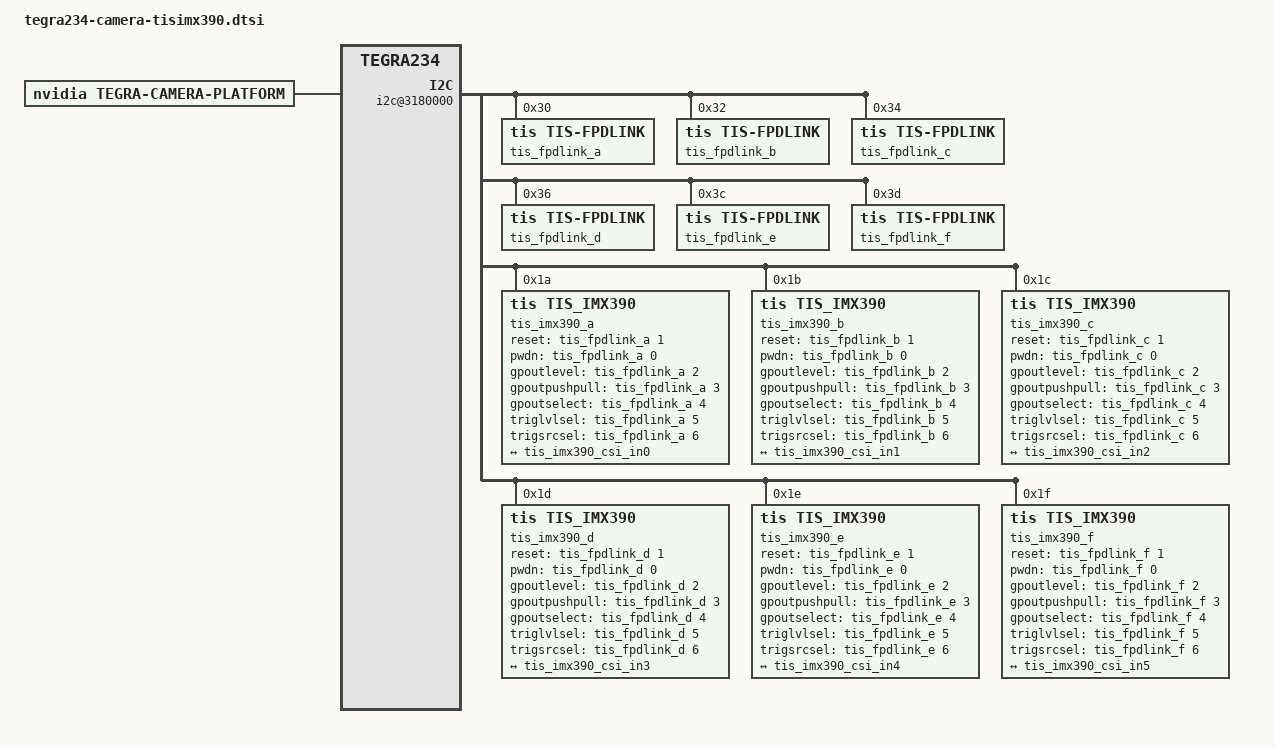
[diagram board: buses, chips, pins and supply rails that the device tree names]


#include <dt-bindings/tegra234-p3737-0000+p3701-0000.h>



/* 
 #define CAM0_RST_L	TEGRA234_MAIN_GPIO(H, 3)
 #define CAM0_PWDN	TEGRA234_MAIN_GPIO(H, 6)
 #define CAM1_RST_L	TEGRA234_MAIN_GPIO(AC, 1)
 #define CAM1_PWDN	TEGRA234_MAIN_GPIO(AC, 0)*/

 / {
	fragment-camera@0 {
		target-path = "/";
		__overlay__ {

        /*tegra-camera-platform {
            /**
            * tpg_max_iso = <>;
            * Max iso bw for 6 streams of tpg
            * streams * nvcsi_freq * PG_bitrate / RG10 * BPP
            * 6 * 102Mhz * 32 bits/ 10 bits * 2 Bps
            * = 3916.8 MBps
            
            tpg_max_iso = <3916800>;
        };*/

	/* set camera gpio direction to output */
	/*gpio@2200000 {
		camera-control-output-low {
			gpio-hog;
			output-low;
			gpios = <CAM0_RST_L 0 CAM0_PWDN 0
				 CAM1_RST_L 0 CAM1_PWDN 0>;
			label = "cam0-rst", "cam0-pwdn",
				"cam1-rst", "cam1-pwdn";
		};
	};*/

	/* all cameras are disabled by default */
	tegra-capture-vi {
		num-channels = <6>;
		ports {
			#address-cells = <1>;
			#size-cells = <0>;
			port@0 {
				reg = <0>;
				tis_imx390_vi_in0: endpoint {
					vc-id = <0>;
					port-index = <0>;
					bus-width = <2>;
					remote-endpoint = <&tis_imx390_csi_out0>;
				};
			};
			port@1 {
				reg = <1>;
				tis_imx390_vi_in1: endpoint {
					vc-id = <0>;
					port-index = <1>;
					bus-width = <2>;
					remote-endpoint = <&tis_imx390_csi_out1>;
				};
			};
			port@2 {
				reg = <2>;
				tis_imx390_vi_in2: endpoint {
					vc-id = <0>;
					port-index = <2>;
					bus-width = <2>;
					remote-endpoint = <&tis_imx390_csi_out2>;
				};
			};
			port@3 {
				reg = <3>;
				tis_imx390_vi_in3: endpoint {
					vc-id = <0>;
					port-index = <3>;
					bus-width = <2>;
					remote-endpoint = <&tis_imx390_csi_out3>;
				};
			};
			 
			port@4 {
				reg = <4>;
				tis_imx390_vi_in4: endpoint {
					vc-id = <0>;
					port-index = <4>;
					bus-width = <4>;
					remote-endpoint = <&tis_imx390_csi_out4>;
				};
			}; 
			port@5 {
				reg = <5>;
				tis_imx390_vi_in5: endpoint {
					vc-id = <0>;
					port-index = <5>;
					bus-width = <4>;
					remote-endpoint = <&tis_imx390_csi_out5>;
				};
			};
			};
		/*ports {
			vi_port0: port@0 {
				status = "disabled";
				vi_in0: endpoint {
					vc-id = <0>;
					status = "disabled";
				};
			};
			vi_port1: port@1 {
				status = "disabled";
				vi_in1: endpoint {
					vc-id = <0>;
					status = "disabled";
				};
			};
			vi_port2: port@2 {
				status = "disabled";
				vi_in2: endpoint {
					vc-id = <0>;
					status = "disabled";
				};
			};
			vi_port3: port@3 {
				status = "disabled";
				vi_in3: endpoint {
					vc-id = <0>;
					status = "disabled";
				};
			};
			vi_port4: port@4 {
				status = "disabled";
				vi_in4: endpoint {
					vc-id = <0>;
					status = "disabled";
				};
			};
			vi_port5: port@5 {
				status = "disabled";
				vi_in5: endpoint {
					vc-id = <0>;
					status = "disabled";
				};
			};
			vi_port6: port@6 {
				status = "disabled";
				vi_in6: endpoint {
					vc-id = <0>;
					status = "disabled";
				};
			};
			vi_port7: port@7 {
				status = "disabled";
				vi_in7: endpoint {
					vc-id = <0>;
					status = "disabled";
				};
			};
			vi_port8: port@8 {
				status = "disabled";
				vi_in8: endpoint {
					vc-id = <0>;
					status = "disabled";
				};
			};
			vi_port9: port@9 {
				status = "disabled";
				vi_in9: endpoint {
					vc-id = <0>;
					status = "disabled";
				};
			};
			vi_port10: port@10 {
				status = "disabled";
				vi_in10: endpoint {
					vc-id = <0>;
					status = "disabled";
				};
			};
			vi_port11: port@11 {
				status = "disabled";
				vi_in11: endpoint {
					vc-id = <0>;
					status = "disabled";
				};
			};
		};*/
	};
    bus@0 {
	host1x@13e00000 {
		nvcsi@15a00000 {
			num-tpg-channels = <36>;
			num-channels = <6>;
			#address-cells = <1>;
			#size-cells = <0>;

			/*csi_chan0: channel@0 {
				status = "disabled";
				ports {
					csi_chan0_port0: port@0 {
						status = "disabled";
						csi_in0: endpoint@0 {
							status = "disabled";
						};
					};
					csi_chan0_port1: port@1 {
						status = "disabled";
						csi_out0: endpoint@1 {
							status = "disabled";
						};
					};
				};
			};
			csi_chan1: channel@1 {
				status = "disabled";
				ports {
					csi_chan1_port0: port@0 {
						status = "disabled";
						csi_in1: endpoint@2 {
							status = "disabled";
						};
					};
					csi_chan1_port1: port@1 {
						status = "disabled";
						csi_out1: endpoint@3 {
							status = "disabled";
						};
					};
				};
			};
			csi_chan2: channel@2 {
				status = "disabled";
				ports {
					csi_chan2_port0: port@0 {
						status = "disabled";
						csi_in2: endpoint@4 {
							status = "disabled";
						};
					};
					csi_chan2_port1: port@1 {
						status = "disabled";
						csi_out2: endpoint@5 {
							status = "disabled";
						};
					};
				};
			};
			csi_chan3: channel@3 {
				status = "disabled";
				ports {
					csi_chan3_port0: port@0 {
						status = "disabled";
						csi_in3: endpoint@6 {
							status = "disabled";
						};
					};
					csi_chan3_port1: port@1 {
						status = "disabled";
						csi_out3: endpoint@7 {
							status = "disabled";
						};
					};
				};
			};
			csi_chan4: channel@4 {
				status = "disabled";
				ports {
					csi_chan4_port0: port@0 {
						status = "disabled";
						csi_in4: endpoint@8 {
							status = "disabled";
						};
					};
					csi_chan4_port1: port@1 {
						status = "disabled";
						csi_out4: endpoint@9 {
							status = "disabled";
						};
					};
				};
			};
			csi_chan5: channel@5 {
				status = "disabled";
				ports {
					csi_chan5_port0: port@0 {
						status = "disabled";
						csi_in5: endpoint@10 {
							status = "disabled";
						};
					};
					csi_chan5_port1: port@1 {
						status = "disabled";
						csi_out5: endpoint@11 {
							status = "disabled";
						};
					};
				};
			};
			csi_chan6: channel@6 {
				status = "disabled";
				ports {
					csi_chan6_port0: port@0 {
						status = "disabled";
						csi_in6: endpoint@12 {
							status = "disabled";
						};
					};
					csi_chan6_port1: port@1 {
						status = "disabled";
						csi_out6: endpoint@13 {
							status = "disabled";
						};
					};
				};
			};
			csi_chan7: channel@7 {
				status = "disabled";
				ports {
					csi_chan7_port0: port@0 {
						status = "disabled";
						csi_in7: endpoint@14 {
							status = "disabled";
						};
					};
					csi_chan7_port1: port@1 {
						status = "disabled";
						csi_out7: endpoint@15 {
							status = "disabled";
						};
					};
				};
			};
			csi_chan8: channel@8 {
				status = "disabled";
				ports {
					csi_chan8_port0: port@0 {
						status = "disabled";
						csi_in8: endpoint@16 {
							status = "disabled";
						};
					};
					csi_chan8_port1: port@1 {
						status = "disabled";
						csi_out8: endpoint@17 {
							status = "disabled";
						};
					};
				};
			};
			csi_chan9: channel@9 {
				status = "disabled";
				ports {
					csi_chan9_port0: port@0 {
						status = "disabled";
						csi_in9: endpoint@18 {
							status = "disabled";
						};
					};
					csi_chan9_port1: port@1 {
						status = "disabled";
						csi_out9: endpoint@19 {
							status = "disabled";
						};
					};
				};
			};
			csi_chan10: channel@10 {
				status = "disabled";
				ports {
					csi_chan10_port0: port@0 {
						status = "disabled";
						csi_in10: endpoint@20 {
							status = "disabled";
						};
					};
					csi_chan10_port1: port@1 {
						status = "disabled";
						csi_out10: endpoint@21 {
							status = "disabled";
						};
					};
				};
			};
			csi_chan11: channel@11 {
				status = "disabled";
				ports {
					csi_chan11_port0: port@0 {
						status = "disabled";
						csi_in11: endpoint@22 {
							status = "disabled";
						};
					};
					csi_chan11_port1: port@1 {
						status = "disabled";
						csi_out11: endpoint@23 {
							status = "disabled";
						};
					};
				};
			};
		};
		*/
		channel@0 {
				reg = <0>;
				ports {
					#address-cells = <1>;
					#size-cells = <0>;
					port@0 {
						reg = <0>;
						tis_imx390_csi_in0: endpoint@0 {
							port-index = <0>;
							bus-width = <2>;
							remote-endpoint = <&tis_imx390_out0>;
						};
					};
					port@1 {
						reg = <1>;
						tis_imx390_csi_out0: endpoint@1 {
							remote-endpoint = <&tis_imx390_vi_in0>;
						};
					};
				};
			};
			channel@1 {
				reg = <1>;
				ports {
					#address-cells = <1>;
					#size-cells = <0>;
					port@0 {
						reg = <0>;
						tis_imx390_csi_in1: endpoint@2 {
							port-index = <1>;
							bus-width = <2>;
							remote-endpoint = <&tis_imx390_out1>;
						};
					};
					port@1 {
						reg = <1>;
						tis_imx390_csi_out1: endpoint@3 {
							remote-endpoint = <&tis_imx390_vi_in1>;
						};
					};
				};
			};
			channel@2 {
				reg = <2>;
				ports {
					#address-cells = <1>;
					#size-cells = <0>;
					port@0 {
						reg = <0>;
						tis_imx390_csi_in2: endpoint@4 {
							port-index = <2>;
							bus-width = <2>;
							remote-endpoint = <&tis_imx390_out2>;
						};
					};
					port@1 {
						reg = <1>;
						tis_imx390_csi_out2: endpoint@5 {
							remote-endpoint = <&tis_imx390_vi_in2>;
						};
					};
				};
			};
			channel@3 {
				reg = <3>;
				ports {
					#address-cells = <1>;
					#size-cells = <0>;
					port@0 {
						reg = <0>;
						tis_imx390_csi_in3: endpoint@6 {
							port-index = <3>;
							bus-width = <2>;
							remote-endpoint = <&tis_imx390_out3>;
						};
					};
					port@1 {
						reg = <1>;
						tis_imx390_csi_out3: endpoint@7 {
							remote-endpoint = <&tis_imx390_vi_in3>;
						};
					};
				};
			}; 
			channel@4 {
				reg = <4>;
				ports {
					#address-cells = <1>;
					#size-cells = <0>;
					port@0 {
						reg = <0>;
						tis_imx390_csi_in4: endpoint@8 {
							port-index = <4>;
							bus-width = <4>;
							remote-endpoint = <&tis_imx390_out4>;
						};
					};
					port@1 {
						reg = <1>;
						tis_imx390_csi_out4: endpoint@9 {
							remote-endpoint = <&tis_imx390_vi_in4>;
						};
					};
				};
			};
			channel@5 {
				reg = <5>;
				ports {
					#address-cells = <1>;
					#size-cells = <0>;
					port@0 {
						reg = <0>;
						tis_imx390_csi_in5: endpoint@a {
							port-index = <6>;
							bus-width = <4>;
							remote-endpoint = <&tis_imx390_out5>;
						};
					};
					port@1 {
						reg = <1>;
						tis_imx390_csi_out5: endpoint@b {
							remote-endpoint = <&tis_imx390_vi_in5>;
						};
					};
				};
			};
		};




	};


	i2c@3180000 {
		#address-cells = <1>;
		#size-cells = <0>;
		status = "okay";
		nvidia,disable-multi-pkt-mode;

		tis_fpdlink_a: tis_fpdlink@30 {
			compatible = "tis,tis-fpdlink";
			status = "okay";
			reg = <0x30>;
			gpio_addr_base = /bits/ 8 <0x60>;
			gpio-controller;
			#gpio-cells = <2>;
			ngpios = <8>;
			deser_lanes = <2>;
			deser_chan_addrs = /bits/ 8 <0x41 0x42>;
			
			sensors = <&tis_imx390_a>;
			
			tis_fpdlink_a_input {
				status = "okay";
				input;
				gpios = <0x7 0x0>;
				gpio-line-names = "tis_fpdlink_a_chn0_input_0";
				//line-name = "tis_fpdlink_a_chn0_input_0";
			};
			tis_fpdlink_a_outlow {
				status = "okay";
				//gpio-hog;
				output-low;
				gpios = <0x0 0x0 0x1 0x0 0x2 0x0 0x3 0x0 0x4 0x0 0x5 0x0 0x6 0x1>;
				gpio-line-names = "tis_fpdlink_a_chn0_CAM_PWR", "tis_fpdlink_a_chn0_RESET", "tis_fpdlink_a_chn0_GPOUT_LEVEL", "tis_fpdlink_a_chn0_GPOUT_PUSHPULL", "tis_fpdlink_a_chn0_GPOUT_SELECT", "tis_fpdlink_a_chn0_TRIG_LVL_SEL", "tis_fpdlink_a_chn0_TRIG_SRC_SEL";
				//line-name = "tis_fpdlink_a_chn0_CAM_PWR", "tis_fpdlink_a_chn0_RESET", "tis_fpdlink_a_chn0_GPOUT_LEVEL", "tis_fpdlink_a_chn0_GPOUT_PUSHPULL", "tis_fpdlink_a_chn0_GPOUT_SELECT", "tis_fpdlink_a_chn0_TRIG_LVL_SEL", "tis_fpdlink_a_chn0_TRIG_SRC_SEL";
			};
			tis_fpdlink_a_outhigh {
				status = "disabled";
			};
			
		};

		tis_fpdlink_b: tis_fpdlink@32 {
			compatible = "tis,tis-fpdlink";
			status = "okay";
			reg = <0x32>;
			gpio_addr_base = /bits/ 8 <0x62>;          // ?????????????
			gpio-controller;
			#gpio-cells = <2>;
			ngpios = <8>;
			deser_lanes = <2>;
			deser_chan_addrs = /bits/ 8 <0x43 044>;
			
			sensors = <&tis_imx390_b>;
			
			tis_fpdlink_b_input {
				status = "okay";
				input;
				gpios = <0x7 0x0>;
				label = "tis_fpdlink_a_chn0_input_0";
				//line-name = "tis_fpdlink_a_chn0_input_0";
			};
			tis_fpdlink_b_outlow {
				status = "okay";
				//gpio-hog;
				output-low;
				gpios = <0x0 0x0 0x1 0x0 0x2 0x0 0x3 0x0 0x4 0x0 0x5 0x0 0x6 0x1>;
				label = "tis_fpdlink_a_chn0_CAM_PWR", "tis_fpdlink_a_chn0_RESET", "tis_fpdlink_a_chn0_GPOUT_LEVEL", "tis_fpdlink_a_chn0_GPOUT_PUSHPULL", "tis_fpdlink_a_chn0_GPOUT_SELECT", "tis_fpdlink_a_chn0_TRIG_LVL_SEL", "tis_fpdlink_a_chn0_TRIG_SRC_SEL";
				
				//line-name = "tis_fpdlink_a_chn0_CAM_PWR", "tis_fpdlink_a_chn0_RESET", "tis_fpdlink_a_chn0_GPOUT_LEVEL", "tis_fpdlink_a_chn0_GPOUT_PUSHPULL", "tis_fpdlink_a_chn0_GPOUT_SELECT", "tis_fpdlink_a_chn0_TRIG_LVL_SEL", "tis_fpdlink_a_chn0_TRIG_SRC_SEL";
			};
			tis_fpdlink_b_outhigh {
				status = "disabled";
			};
		};

		tis_fpdlink_c: tis_fpdlink@34 {
			compatible = "tis,tis-fpdlink";
			status = "okay";
			reg = <0x34>;
			gpio_addr_base = /bits/ 8 <0x64>;          // ?????????????
			gpio-controller;
			#gpio-cells = <2>;
			ngpios = <8>;
			deser_lanes = <2>;
			deser_chan_addrs = /bits/ 8 <0x45 0x46>;
			
			sensors = <&tis_imx390_c>;
			
			tis_fpdlink_c_input {
				status = "okay";
				input;
				gpios = <0x7 0x0>;
				label = "tis_fpdlink_a_chn0_input_0";
				//line-name = "tis_fpdlink_a_chn0_input_0";
			};
			tis_fpdlink_c_outlow {
				status = "okay";
				//gpio-hog;
				output-low;
				gpios = <0x0 0x0 0x1 0x0 0x2 0x0 0x3 0x0 0x4 0x0 0x5 0x0 0x6 0x1>;
				label = "tis_fpdlink_a_chn0_CAM_PWR", "tis_fpdlink_a_chn0_RESET", "tis_fpdlink_a_chn0_GPOUT_LEVEL", "tis_fpdlink_a_chn0_GPOUT_PUSHPULL", "tis_fpdlink_a_chn0_GPOUT_SELECT", "tis_fpdlink_a_chn0_TRIG_LVL_SEL", "tis_fpdlink_a_chn0_TRIG_SRC_SEL";
				
				//line-name = "tis_fpdlink_a_chn0_CAM_PWR", "tis_fpdlink_a_chn0_RESET", "tis_fpdlink_a_chn0_GPOUT_LEVEL", "tis_fpdlink_a_chn0_GPOUT_PUSHPULL", "tis_fpdlink_a_chn0_GPOUT_SELECT", "tis_fpdlink_a_chn0_TRIG_LVL_SEL", "tis_fpdlink_a_chn0_TRIG_SRC_SEL";
			};
			tis_fpdlink_c_outhigh {
				status = "disabled";
			};
		};

		tis_fpdlink_d: tis_fpdlink@36 {
			compatible = "tis,tis-fpdlink";
			status = "okay";
			reg = <0x36>;
			gpio_addr_base = /bits/ 8 <0x66>;          // ?????????????
			gpio-controller;
			#gpio-cells = <2>;
			ngpios = <8>;
			deser_lanes = <2>;
			deser_chan_addrs = /bits/ 8 <0x47 0x48>;
			
			sensors = <&tis_imx390_d>;
			
			tis_fpdlink_d_input {
				status = "okay";
				input;
				gpios = <0x7 0x0>;
				label = "tis_fpdlink_a_chn0_input_0";
				//line-name = "tis_fpdlink_a_chn0_input_0";
			};
			tis_fpdlink_d_outlow {
				status = "okay";
				//gpio-hog;
				output-low;
				gpios = <0x0 0x0 0x1 0x0 0x2 0x0 0x3 0x0 0x4 0x0 0x5 0x0 0x6 0x1>;
				label = "tis_fpdlink_a_chn0_CAM_PWR", "tis_fpdlink_a_chn0_RESET", "tis_fpdlink_a_chn0_GPOUT_LEVEL", "tis_fpdlink_a_chn0_GPOUT_PUSHPULL", "tis_fpdlink_a_chn0_GPOUT_SELECT", "tis_fpdlink_a_chn0_TRIG_LVL_SEL", "tis_fpdlink_a_chn0_TRIG_SRC_SEL";
				
				//line-name = "tis_fpdlink_a_chn0_CAM_PWR", "tis_fpdlink_a_chn0_RESET", "tis_fpdlink_a_chn0_GPOUT_LEVEL", "tis_fpdlink_a_chn0_GPOUT_PUSHPULL", "tis_fpdlink_a_chn0_GPOUT_SELECT", "tis_fpdlink_a_chn0_TRIG_LVL_SEL", "tis_fpdlink_a_chn0_TRIG_SRC_SEL";
			};
			tis_fpdlink_d_outhigh {
				status = "disabled";
			};
		};
		tis_fpdlink_e: tis_fpdlink@3c { // 3d 
			compatible = "tis,tis-fpdlink";
			status = "okay";
			reg = <0x3c>;
			gpio_addr_base = /bits/ 8 <0x68>;          // ?????????????
			gpio-controller;
			#gpio-cells = <2>;
			ngpios = <8>;
			deser_lanes = <4>;
			deser_chan_addrs = /bits/ 8 <0x49 0x4a>;
			
			sensors = <&tis_imx390_e>;
			
			tis_fpdlink_e_input {
				status = "okay";
				input;
				gpios = <0x7 0x0>;
				label = "tis_fpdlink_a_chn0_input_0";

				//line-name = "tis_fpdlink_a_chn0_input_0";
			};
			tis_fpdlink_e_outlow {
				status = "okay";
				//gpio-hog;
				output-low;
				gpios = <0x0 0x0 0x1 0x0 0x2 0x0 0x3 0x0 0x4 0x0 0x5 0x0 0x6 0x1>;
				label = "tis_fpdlink_a_chn0_CAM_PWR", "tis_fpdlink_a_chn0_RESET", "tis_fpdlink_a_chn0_GPOUT_LEVEL", "tis_fpdlink_a_chn0_GPOUT_PUSHPULL", "tis_fpdlink_a_chn0_GPOUT_SELECT", "tis_fpdlink_a_chn0_TRIG_LVL_SEL", "tis_fpdlink_a_chn0_TRIG_SRC_SEL";
				
				//line-name = "tis_fpdlink_a_chn0_CAM_PWR", "tis_fpdlink_a_chn0_RESET", "tis_fpdlink_a_chn0_GPOUT_LEVEL", "tis_fpdlink_a_chn0_GPOUT_PUSHPULL", "tis_fpdlink_a_chn0_GPOUT_SELECT", "tis_fpdlink_a_chn0_TRIG_LVL_SEL", "tis_fpdlink_a_chn0_TRIG_SRC_SEL";
			};
			tis_fpdlink_e_outhigh {
				status = "disabled";
			};
		};

		tis_fpdlink_f: tis_fpdlink@3d { // 3d 
			compatible = "tis,tis-fpdlink";
			status = "okay";
			reg = <0x3d>;
			gpio_addr_base = /bits/ 8 <0x6a>;          // ?????????????
			gpio-controller;
			#gpio-cells = <2>;
			ngpios = <8>;
			deser_lanes = <4>;
			deser_chan_addrs = /bits/ 8 <0x4b 0x4c>;
			
			sensors = <&tis_imx390_f>;
			
			tis_fpdlink_f_input {
				status = "okay";
				input;
				gpios = <0x7 0x0>;
				label = "tis_fpdlink_a_chn0_input_0";

				//line-name = "tis_fpdlink_a_chn0_input_0";
			};
			tis_fpdlink_f_outlow {
				status = "okay";
				//gpio-hog;
				output-low;
				gpios = <0x0 0x0 0x1 0x0 0x2 0x0 0x3 0x0 0x4 0x0 0x5 0x0 0x6 0x1>;
				label = "tis_fpdlink_a_chn0_CAM_PWR", "tis_fpdlink_a_chn0_RESET", "tis_fpdlink_a_chn0_GPOUT_LEVEL", "tis_fpdlink_a_chn0_GPOUT_PUSHPULL", "tis_fpdlink_a_chn0_GPOUT_SELECT", "tis_fpdlink_a_chn0_TRIG_LVL_SEL", "tis_fpdlink_a_chn0_TRIG_SRC_SEL";
				
				//line-name = "tis_fpdlink_a_chn0_CAM_PWR", "tis_fpdlink_a_chn0_RESET", "tis_fpdlink_a_chn0_GPOUT_LEVEL", "tis_fpdlink_a_chn0_GPOUT_PUSHPULL", "tis_fpdlink_a_chn0_GPOUT_SELECT", "tis_fpdlink_a_chn0_TRIG_LVL_SEL", "tis_fpdlink_a_chn0_TRIG_SRC_SEL";
			};
			tis_fpdlink_f_outhigh {
				status = "disabled";
			};
		};

			tis_imx390_a: tis_imx390@1a {
				compatible = "tis,tis_imx390";
				reg = <0x1a>;
				reg-tis_eeprom = <0x50>;
				reg-nv_eeprom = <0x57>;
				status = "okay";
				reset-gpios = <&tis_fpdlink_a 1 GPIO_ACTIVE_HIGH>;
				pwdn-gpios = <&tis_fpdlink_a 0 GPIO_ACTIVE_HIGH>;
				gpoutlevel-gpios = <&tis_fpdlink_a 2 GPIO_ACTIVE_HIGH>;
				gpoutpushpull-gpios = <&tis_fpdlink_a 3 GPIO_ACTIVE_HIGH>;
				gpoutselect-gpios = <&tis_fpdlink_a 4 GPIO_ACTIVE_HIGH>;
				triglvlsel-gpios = <&tis_fpdlink_a 5 GPIO_ACTIVE_HIGH>;
				trigsrcsel-gpios = <&tis_fpdlink_a 6 GPIO_ACTIVE_HIGH>;
				devnode = "video0";
				physical_w = "5.640";
				physical_h = "3.216";
				sensor_model = "imx390";
				use_decibel_gain = "true";
				use_sensor_mode_id = "true";
				fpdlink = <&tis_fpdlink_a>;
				fpdlink_signals = "default";
				
				fpdlink_clkout_hz = <27000000>;
				fpdlink_slave_map = /bits/ 8 <0x21 0x1a 0x50 0x50 0x57 0x57>;
				fpdlink_ser_map_addr = /bits/ 8 <0x21>;
				fpdlink_ser_lanes = <2>;
				fpdlink_vc_map = /bits/ 8 <0x0>;
				fpdlink_coax_pwr_gpio = /bits/ 8 <5>;
				
				/*mode0 {
					mclk_khz = "27000";
					num_lanes = "2";
					mode_lanes = <4>;
					tegra_sinterface = "serial_a";
					lane_polarity = "0";
					vc_id = "0";
					phy_mode = "DPHY";
					discontinuous_clk = "yes";
					dpcm_enable = "false";
					cil_settletime = "0";
					
					//serdes_pix_clk_hz = "3200000000";
					serdes_pix_clk_hz ="114285714"; 
					raw_fourcc_color = "PWL3";
					raw_fourcc_mono = "PWL3";
					active_h = "1204";
					dynamic_pixel_bit_depth = "24";
					mode_type = "bayer_wdr_pwl";
					num_control_point = "9";
					control_point_x_0 = "384";
					control_point_x_1 = "1600";
					control_point_x_2 = "3700";
					control_point_x_3 = "24000";
					control_point_x_4 = "73000";
					control_point_x_5 = "210392";
					control_point_x_6 = "1500000";
					control_point_x_7 = "5000000";
					control_point_x_8 = "16777215";
					control_point_y_0 = "384";
					control_point_y_1 = "789";
					control_point_y_2 = "1022";
					control_point_y_3 = "1278";
					control_point_y_4 = "1586";
					control_point_y_5 = "2019";
					control_point_y_6 = "2415";
					control_point_y_7 = "2951";
					control_point_y_8 = "3854";
					active_w = "1920";
					csi_pixel_bit_depth = "12";
					pixel_phase = "rggb";
					readout_orientation = "0";
					line_length = "3924";
					inherent_gain = "1";
					//pix_clk_hz = "297000000";
					pix_clk_hz = "69350400";
					gain_factor = "10";
					framerate_factor = "1000000";
					exposure_factor = "1000000";
					min_gain_val = "0";
					max_gain_val = "270";
					step_gain_val = "3";
					default_gain = "270";
					min_hdr_ratio = "16";
					max_hdr_ratio = "16";
					min_framerate = "2000000";
					max_framerate = "50000000";
					step_framerate = "1";
					default_framerate = "15000000";
					min_exp_time = "15";
					max_exp_time = "100000";
					step_exp_time = "1";
					default_exp_time = "16650";
					embedded_metadata_height = "1";
				};
				mode1 {
					mclk_khz = "27000";
					num_lanes = "2";
					mode_lanes = <4>;
					tegra_sinterface = "serial_a";
					vc_id = "0";
					lane_polarity = "0";
					phy_mode = "DPHY";
					discontinuous_clk = "yes";
					dpcm_enable = "false";
					cil_settletime = "0";

					//serdes_pix_clk_hz = "3200000000";
					serdes_pix_clk_hz ="114285714"; 
					raw_fourcc_color = "RG16";
					raw_fourcc_mono = "Y16 ";
					active_h = "1204";
					active_w = "1920";
					dynamic_pixel_bit_depth = "12";
					csi_pixel_bit_depth = "12";
					mode_type = "bayer";
					pixel_phase = "rggb";
					readout_orientation = "0";
					line_length = "3924";
					inherent_gain = "1";
					//pix_clk_hz = "297000000";
					pix_clk_hz = "69350400";
					gain_factor = "10";
					framerate_factor = "1000000";
					exposure_factor = "1000000";
					min_gain_val = "0";
					max_gain_val = "270";
					step_gain_val = "3";
					default_gain = "270";
					min_hdr_ratio = "16";
					max_hdr_ratio = "16";
					min_framerate = "2000000";
					max_framerate = "50000000";
					step_framerate = "1";
					default_framerate = "15000000";
					min_exp_time = "15";
					max_exp_time = "100000";
					step_exp_time = "1";
					default_exp_time = "16650";
					embedded_metadata_height = "1";
				};
				mode2 {
					mclk_khz = "27000";
					num_lanes = "2";
					mode_lanes = <4>;
					lane_polarity = "0";
					tegra_sinterface = "serial_a";
					vc_id = "0";
					phy_mode = "DPHY";
					discontinuous_clk = "yes";
					dpcm_enable = "false";
					cil_settletime = "0";

					//serdes_pix_clk_hz = "3200000000";
					serdes_pix_clk_hz ="114285714"; 

					raw_fourcc_color = "PWL3";
					raw_fourcc_mono = "PWL3";
					dynamic_pixel_bit_depth = "24";
					mode_type = "bayer_wdr_pwl";
					num_control_point = "9";
					control_point_x_0 = "384";
					control_point_x_1 = "1600";
					control_point_x_2 = "3700";
					control_point_x_3 = "24000";
					control_point_x_4 = "73000";
					control_point_x_5 = "210392";
					control_point_x_6 = "1500000";
					control_point_x_7 = "5000000";
					control_point_x_8 = "16777215";
					control_point_y_0 = "384";
					control_point_y_1 = "789";
					control_point_y_2 = "1022";
					control_point_y_3 = "1278";
					control_point_y_4 = "1586";
					control_point_y_5 = "2019";
					control_point_y_6 = "2415";
					control_point_y_7 = "2951";
					control_point_y_8 = "3854";
					active_w = "1920";
					active_h = "1200";
					csi_pixel_bit_depth = "12";
					pixel_phase = "rggb";
					readout_orientation = "0";
					line_length = "3924";
					inherent_gain = "1";
					//pix_clk_hz = "297000000";
					pix_clk_hz = "69350400";
					gain_factor = "10";
					framerate_factor = "1000000";
					exposure_factor = "1000000";
					min_gain_val = "0";
					max_gain_val = "270";
					step_gain_val = "3";
					default_gain = "270";
					min_hdr_ratio = "16";
					max_hdr_ratio = "16";
					min_framerate = "2000000";
					max_framerate = "50000000";
					step_framerate = "1";
					default_framerate = "15000000";
					min_exp_time = "15";
					max_exp_time = "100000";
					step_exp_time = "1";
					default_exp_time = "16650";
					embedded_metadata_height = "1";
				};
				mode3 {
					mclk_khz = "27000";
					num_lanes = "2";
					mode_lanes = <4>;
					lane_polarity = "0";
					tegra_sinterface = "serial_a";
					vc_id = "0";
					phy_mode = "DPHY";
					discontinuous_clk = "yes";
					dpcm_enable = "false";
					cil_settletime = "0";
										//serdes_pix_clk_hz = "3200000000";
					serdes_pix_clk_hz ="114285714";  
					raw_fourcc_color = "RG16";
					raw_fourcc_mono = "Y16 ";
					active_w = "1920";
					active_h = "1200";
					dynamic_pixel_bit_depth = "12";
					csi_pixel_bit_depth = "12";
					mode_type = "bayer";
					pixel_phase = "rggb";
					readout_orientation = "0";
					line_length = "3924";
					inherent_gain = "1";
					//pix_clk_hz = "297000000";
					pix_clk_hz = "69350400";
					gain_factor = "10";
					framerate_factor = "1000000";
					exposure_factor = "1000000";
					min_gain_val = "0";
					max_gain_val = "270";
					step_gain_val = "3";
					default_gain = "270";
					min_hdr_ratio = "16";
					max_hdr_ratio = "16";
					min_framerate = "2000000";
					max_framerate = "50000000";
					step_framerate = "1";
					default_framerate = "50000000";
					min_exp_time = "15";
					max_exp_time = "100000";
					step_exp_time = "1";
					default_exp_time = "16650";
					embedded_metadata_height = "1";
				};
				mode4 {
					mclk_khz = "27000";
					num_lanes = "2";
					mode_lanes = <4>;
					lane_polarity = "0";
					tegra_sinterface = "serial_a";
					vc_id = "0";
					phy_mode = "DPHY";
					discontinuous_clk = "yes";
					dpcm_enable = "false";
					cil_settletime = "0";
										//serdes_pix_clk_hz = "3200000000";
					serdes_pix_clk_hz ="114285714";  
					raw_fourcc_color = "PWL3";
					raw_fourcc_mono = "PWL3";
					active_h = "1084";
					max_framerate = "60000000";
					default_framerate = "15000000";
					dynamic_pixel_bit_depth = "24";
					mode_type = "bayer_wdr_pwl";
					num_control_point = "9";
					control_point_x_0 = "384";
					control_point_x_1 = "1600";
					control_point_x_2 = "3700";
					control_point_x_3 = "24000";
					control_point_x_4 = "73000";
					control_point_x_5 = "210392";
					control_point_x_6 = "1500000";
					control_point_x_7 = "5000000";
					control_point_x_8 = "16777215";
					control_point_y_0 = "384";
					control_point_y_1 = "789";
					control_point_y_2 = "1022";
					control_point_y_3 = "1278";
					control_point_y_4 = "1586";
					control_point_y_5 = "2019";
					control_point_y_6 = "2415";
					control_point_y_7 = "2951";
					control_point_y_8 = "3854";
					active_w = "1920";
					csi_pixel_bit_depth = "12";
					pixel_phase = "rggb";
					readout_orientation = "0";
					line_length = "3924";
					inherent_gain = "1";
					//pix_clk_hz = "297000000";
					pix_clk_hz = "69350400";
					gain_factor = "10";
					framerate_factor = "1000000";
					exposure_factor = "1000000";
					min_gain_val = "0";
					max_gain_val = "270";
					step_gain_val = "3";
					default_gain = "270";
					min_hdr_ratio = "16";
					max_hdr_ratio = "16";
					min_framerate = "2000000";
					step_framerate = "1";
					min_exp_time = "15";
					max_exp_time = "100000";
					step_exp_time = "1";
					default_exp_time = "16650";
					embedded_metadata_height = "1";
				};
				mode5 {
					mclk_khz = "27000";
					num_lanes = "2";
					mode_lanes = <4>;
					lane_polarity = "0";
					tegra_sinterface = "serial_a";
					vc_id = "0";
					phy_mode = "DPHY";
					discontinuous_clk = "yes";
					dpcm_enable = "false";
					cil_settletime = "0";
										//serdes_pix_clk_hz = "3200000000";
					serdes_pix_clk_hz ="114285714";  
					raw_fourcc_color = "RG16";
					raw_fourcc_mono = "Y16 ";
					active_h = "1084";
					max_framerate = "60000000";
					default_framerate = "15000000";
					active_w = "1920";
					dynamic_pixel_bit_depth = "12";
					csi_pixel_bit_depth = "12";
					mode_type = "bayer";
					pixel_phase = "rggb";
					readout_orientation = "0";
					line_length = "3924";
					inherent_gain = "1";
					//pix_clk_hz = "297000000";
					pix_clk_hz = "69350400";
					gain_factor = "10";
					framerate_factor = "1000000";
					exposure_factor = "1000000";
					min_gain_val = "0";
					max_gain_val = "270";
					step_gain_val = "3";
					default_gain = "270";
					min_hdr_ratio = "16";
					max_hdr_ratio = "16";
					min_framerate = "2000000";
					step_framerate = "1";
					min_exp_time = "15";
					max_exp_time = "100000";
					step_exp_time = "1";
					default_exp_time = "16650";
					embedded_metadata_height = "1";
				};*/
				/*mode0 {
					mclk_khz = "27000";
					num_lanes = "2";
					mode_lanes = <2>;
					lane_polarity = "0";
					tegra_sinterface = "serial_a";
					vc_id = "0";
					phy_mode = "DPHY";
					discontinuous_clk = "yes";
					dpcm_enable = "false";
					cil_settletime = "0";
					//serdes_pix_clk_hz = "3200000000";
					serdes_pix_clk_hz ="100000000"; 
					raw_fourcc_color = "PWL3";
					raw_fourcc_mono = "PWL3";
					active_h = "1100";
					max_framerate = "30000000";
					default_framerate = "30000000";
					dynamic_pixel_bit_depth = "24";
					mode_type = "bayer_wdr_pwl";
					num_control_point = "9";
					control_point_x_0 = "384";
					control_point_x_1 = "1600";
					control_point_x_2 = "3700";
					control_point_x_3 = "24000";
					control_point_x_4 = "73000";
					control_point_x_5 = "210392";
					control_point_x_6 = "1500000";
					control_point_x_7 = "5000000";
					control_point_x_8 = "16777215";
					control_point_y_0 = "384";
					control_point_y_1 = "789";
					control_point_y_2 = "1022";
					control_point_y_3 = "1278";
					control_point_y_4 = "1586";
					control_point_y_5 = "2019";
					control_point_y_6 = "2415";
					control_point_y_7 = "2951";
					control_point_y_8 = "3854";
					active_w = "1920";
					csi_pixel_bit_depth = "12";
					pixel_phase = "rggb";
					readout_orientation = "0";
					line_length = "2200";
					inherent_gain = "1";
					//pix_clk_hz = "297000000";
					pix_clk_hz = "62208000";
					gain_factor = "10";
					framerate_factor = "1000000";
					exposure_factor = "1000000";
					min_gain_val = "0";
					max_gain_val = "270";
					step_gain_val = "3";
					default_gain = "270";
					min_hdr_ratio = "16";
					max_hdr_ratio = "16";
					min_framerate = "2000000";
					step_framerate = "1";
					min_exp_time = "15";
					max_exp_time = "100000";
					step_exp_time = "1";
					default_exp_time = "16650";
					embedded_metadata_height = "1";
				};*/
				 // Working: 100MHz, pix_clk 62208000, 1920 1100
				mode0 {
					mclk_khz = "27000";
					num_lanes = "2";
					mode_lanes = <2>;
					lane_polarity = "0";
					tegra_sinterface = "serial_a";
					vc_id = "0";
					phy_mode = "DPHY";
					discontinuous_clk = "yes";
					dpcm_enable = "false";
					cil_settletime = "0";
					//serdes_pix_clk_hz = "3200000000";
					serdes_pix_clk_hz ="133333333"; 
					raw_fourcc_color = "RG16";
					raw_fourcc_mono = "Y16 ";
					active_h = "1100";
					max_framerate = "30000000";
					default_framerate = "30000000";
					active_w = "1920";
					dynamic_pixel_bit_depth = "12";
					csi_pixel_bit_depth = "12";
					mode_type = "bayer";
					pixel_phase = "rggb";
					readout_orientation = "0";
					line_length = "3924";
					inherent_gain = "1";
					//pix_clk_hz = "297000000";
					pix_clk_hz = "124416000";
					gain_factor = "10";
					framerate_factor = "1000000";
					exposure_factor = "1000000";
					min_gain_val = "0";
					max_gain_val = "270";
					step_gain_val = "3";
					default_gain = "270";
					min_hdr_ratio = "16";
					max_hdr_ratio = "16";
					min_framerate = "2000000";
					step_framerate = "1";
					min_exp_time = "15";
					max_exp_time = "100000";
					step_exp_time = "1";
					default_exp_time = "16650";
					embedded_metadata_height = "1";
				};
			
				ports {
					#address-cells = <1>;
					#size-cells = <0>;
					port@0 {
						reg = <0>;
						tis_imx390_out0: endpoint {
							port-index = <0>;
							bus-width = <2>;
							remote-endpoint = <&tis_imx390_csi_in0>;
						};
					};
				};
			};




			 	tis_imx390_b: tis_imx390@1b {
					compatible = "tis,tis_imx390";
					reg = <0x1b>;
					reg-tis_eeprom = <0x51>;
					reg-nv_eeprom = <0x58>;
					status = "okay";
					reset-gpios = <&tis_fpdlink_b 1 GPIO_ACTIVE_HIGH>;
					pwdn-gpios = <&tis_fpdlink_b 0 GPIO_ACTIVE_HIGH>;
					gpoutlevel-gpios = <&tis_fpdlink_b 2 GPIO_ACTIVE_HIGH>;
					gpoutpushpull-gpios = <&tis_fpdlink_b 3 GPIO_ACTIVE_HIGH>;
					gpoutselect-gpios = <&tis_fpdlink_b 4 GPIO_ACTIVE_HIGH>;
					triglvlsel-gpios = <&tis_fpdlink_b 5 GPIO_ACTIVE_HIGH>;
					trigsrcsel-gpios = <&tis_fpdlink_b 6 GPIO_ACTIVE_HIGH>;
					devnode = "video1";
					physical_w = "5.640";
					physical_h = "3.216";
					sensor_model = "imx390";
					use_decibel_gain = "true";
					use_sensor_mode_id = "true";
					fpdlink = <&tis_fpdlink_b>;
					fpdlink_signals = "default";
					
					fpdlink_clkout_hz = <27000000>;
					fpdlink_slave_map = /bits/ 8 <0x21 0x1b 0x50 0x51 0x57 0x58>;
					fpdlink_ser_map_addr = /bits/ 8 <0x22>;
					fpdlink_ser_lanes = <2>;
					fpdlink_vc_map = /bits/ 8 <0x0>;
					fpdlink_coax_pwr_gpio = /bits/ 8 <6>;
					
					mode0 {
						mclk_khz = "27000";
						num_lanes = "2";
						mode_lanes = <2>;
						lane_polarity = "0";
						tegra_sinterface = "serial_b";
						vc_id = "0";
						phy_mode = "DPHY";
						discontinuous_clk = "yes";
						dpcm_enable = "false";
						cil_settletime = "0";
						//serdes_pix_clk_hz = "3200000000";
						serdes_pix_clk_hz ="133333333"; 
						raw_fourcc_color = "RG16";
						raw_fourcc_mono = "Y16 ";
						active_h = "1100";
						max_framerate = "30000000";
						default_framerate = "30000000";
						active_w = "1920";
						dynamic_pixel_bit_depth = "12";
						csi_pixel_bit_depth = "12";
						mode_type = "bayer";
						pixel_phase = "rggb";
						readout_orientation = "0";
						line_length = "3924";
						inherent_gain = "1";
						//pix_clk_hz = "297000000";
						pix_clk_hz = "124416000";
						gain_factor = "10";
						framerate_factor = "1000000";
						exposure_factor = "1000000";
						min_gain_val = "0";
						max_gain_val = "270";
						step_gain_val = "3";
						default_gain = "270";
						min_hdr_ratio = "16";
						max_hdr_ratio = "16";
						min_framerate = "2000000";
						step_framerate = "1";
						min_exp_time = "15";
						max_exp_time = "100000";
						step_exp_time = "1";
						default_exp_time = "16650";
						embedded_metadata_height = "1";
					};
					ports {
						#address-cells = <1>;
						#size-cells = <0>;
						port@0 {
							reg = <0>;
							tis_imx390_out1: endpoint {
								port-index = <1>;
								bus-width = <2>;
								remote-endpoint = <&tis_imx390_csi_in1>;
							};
						};
					};
				};


				tis_imx390_c: tis_imx390@1c {
					compatible = "tis,tis_imx390";
					reg = <0x1c>;
					reg-tis_eeprom = <0x52>;
					reg-nv_eeprom = <0x59>;
					status = "okay";
					reset-gpios = <&tis_fpdlink_c 1 GPIO_ACTIVE_HIGH>;
					pwdn-gpios = <&tis_fpdlink_c 0 GPIO_ACTIVE_HIGH>;
					gpoutlevel-gpios = <&tis_fpdlink_c 2 GPIO_ACTIVE_HIGH>;
					gpoutpushpull-gpios = <&tis_fpdlink_c 3 GPIO_ACTIVE_HIGH>;
					gpoutselect-gpios = <&tis_fpdlink_c 4 GPIO_ACTIVE_HIGH>;
					triglvlsel-gpios = <&tis_fpdlink_c 5 GPIO_ACTIVE_HIGH>;
					trigsrcsel-gpios = <&tis_fpdlink_c 6 GPIO_ACTIVE_HIGH>;
					devnode = "video2";
					physical_w = "5.640";
					physical_h = "3.216";
					sensor_model = "imx390";
					use_decibel_gain = "true";
					use_sensor_mode_id = "true";
					fpdlink = <&tis_fpdlink_c>;
					fpdlink_signals = "default";
					
					fpdlink_clkout_hz = <27000000>;
					fpdlink_slave_map = /bits/ 8 <0x21 0x1c 0x50 0x52 0x57 0x59>;
					fpdlink_ser_map_addr = /bits/ 8 <0x23>;
					fpdlink_ser_lanes = <2>;
					fpdlink_vc_map = /bits/ 8 <0x0>;
					fpdlink_coax_pwr_gpio = /bits/ 8 <6>;
					
					mode0 {
						mclk_khz = "27000";
						num_lanes = "2";
						mode_lanes = <2>;
						lane_polarity = "0";
						tegra_sinterface = "serial_c";
						vc_id = "0";
						phy_mode = "DPHY";
						discontinuous_clk = "yes";
						dpcm_enable = "false";
						cil_settletime = "0";
						//serdes_pix_clk_hz = "3200000000";
						serdes_pix_clk_hz ="133333333"; 
						raw_fourcc_color = "RG16";
						raw_fourcc_mono = "Y16 ";
						active_h = "1100";
						max_framerate = "30000000";
						default_framerate = "30000000";
						active_w = "1920";
						dynamic_pixel_bit_depth = "12";
						csi_pixel_bit_depth = "12";
						mode_type = "bayer";
						pixel_phase = "rggb";
						readout_orientation = "0";
						line_length = "3924";
						inherent_gain = "1";
						//pix_clk_hz = "297000000";
						pix_clk_hz = "124416000";
						gain_factor = "10";
						framerate_factor = "1000000";
						exposure_factor = "1000000";
						min_gain_val = "0";
						max_gain_val = "270";
						step_gain_val = "3";
						default_gain = "270";
						min_hdr_ratio = "16";
						max_hdr_ratio = "16";
						min_framerate = "2000000";
						step_framerate = "1";
						min_exp_time = "15";
						max_exp_time = "100000";
						step_exp_time = "1";
						default_exp_time = "16650";
						embedded_metadata_height = "1";
					};
					/*mode0 {
						mclk_khz = "27000";
						num_lanes = "2";
						mode_lanes = <2>;
						lane_polarity = "0";
						tegra_sinterface = "serial_c";
						vc_id = "0";
						phy_mode = "DPHY";
						discontinuous_clk = "yes";
						dpcm_enable = "false";
						cil_settletime = "0";
						//serdes_pix_clk_hz = "3200000000";
						serdes_pix_clk_hz ="133333333"; 
						raw_fourcc_color = "PWL3";
						raw_fourcc_mono = "PWL3";
						active_h = "1100";
						max_framerate = "60000000";
						default_framerate = "60000000";
						dynamic_pixel_bit_depth = "24";
						mode_type = "bayer_wdr_pwl";
						num_control_point = "9";
						control_point_x_0 = "384";
						control_point_x_1 = "1600";
						control_point_x_2 = "3700";
						control_point_x_3 = "24000";
						control_point_x_4 = "73000";
						control_point_x_5 = "210392";
						control_point_x_6 = "1500000";
						control_point_x_7 = "5000000";
						control_point_x_8 = "16777215";
						control_point_y_0 = "384";
						control_point_y_1 = "789";
						control_point_y_2 = "1022";
						control_point_y_3 = "1278";
						control_point_y_4 = "1586";
						control_point_y_5 = "2019";
						control_point_y_6 = "2415";
						control_point_y_7 = "2951";
						control_point_y_8 = "3854";
						active_w = "1920";
						csi_pixel_bit_depth = "12";
						pixel_phase = "rggb";
						readout_orientation = "0";
						line_length = "2200";
						inherent_gain = "1";
						//pix_clk_hz = "297000000";
						pix_clk_hz = "124416000";
						gain_factor = "10";
						framerate_factor = "1000000";
						exposure_factor = "1000000";
						min_gain_val = "0";
						max_gain_val = "270";
						step_gain_val = "3";
						default_gain = "270";
						min_hdr_ratio = "16";
						max_hdr_ratio = "16";
						min_framerate = "2000000";
						step_framerate = "1";
						min_exp_time = "15";
						max_exp_time = "100000";
						step_exp_time = "1";
						default_exp_time = "16650";
						embedded_metadata_height = "1";
					};*/
					ports {
						#address-cells = <1>;
						#size-cells = <0>;
						port@0 {
							reg = <0>;
							tis_imx390_out2: endpoint {
								port-index = <2>;
								bus-width = <2>;
								remote-endpoint = <&tis_imx390_csi_in2>;
							};
						};
					};
				};


				tis_imx390_d: tis_imx390@1d {
					compatible = "tis,tis_imx390";
					reg = <0x1d>;
					reg-tis_eeprom = <0x53>;
					reg-nv_eeprom = <0x5a>;
					status = "okay";
					reset-gpios = <&tis_fpdlink_d 1 GPIO_ACTIVE_HIGH>;
					pwdn-gpios = <&tis_fpdlink_d 0 GPIO_ACTIVE_HIGH>;
					gpoutlevel-gpios = <&tis_fpdlink_d 2 GPIO_ACTIVE_HIGH>;
					gpoutpushpull-gpios = <&tis_fpdlink_d 3 GPIO_ACTIVE_HIGH>;
					gpoutselect-gpios = <&tis_fpdlink_d 4 GPIO_ACTIVE_HIGH>;
					triglvlsel-gpios = <&tis_fpdlink_d 5 GPIO_ACTIVE_HIGH>;
					trigsrcsel-gpios = <&tis_fpdlink_d 6 GPIO_ACTIVE_HIGH>;
					devnode = "video3";
					physical_w = "5.640";
					physical_h = "3.216";
					sensor_model = "imx390";
					use_decibel_gain = "true";
					use_sensor_mode_id = "true";
					fpdlink = <&tis_fpdlink_d>;
					fpdlink_signals = "default";
					
					fpdlink_clkout_hz = <27000000>;
					fpdlink_slave_map = /bits/ 8 <0x21 0x1d 0x50 0x53 0x57 0x5a>;
					fpdlink_ser_map_addr = /bits/ 8 <0x24>;
					fpdlink_ser_lanes = <2>;
					fpdlink_vc_map = /bits/ 8 <0x0>;
					fpdlink_coax_pwr_gpio = /bits/ 8 <6>;
					
					mode0 {
						mclk_khz = "27000";
						num_lanes = "2";
						mode_lanes = <2>;
						lane_polarity = "0";
						tegra_sinterface = "serial_d";
						vc_id = "0";
						phy_mode = "DPHY";
						discontinuous_clk = "yes";
						dpcm_enable = "false";
						cil_settletime = "0";
						//serdes_pix_clk_hz = "3200000000";
						serdes_pix_clk_hz ="133333333"; 
						raw_fourcc_color = "RG16";
						raw_fourcc_mono = "Y16 ";
						active_h = "1100";
						max_framerate = "30000000";
						default_framerate = "30000000";
						active_w = "1920";
						dynamic_pixel_bit_depth = "12";
						csi_pixel_bit_depth = "12";
						mode_type = "bayer";
						pixel_phase = "rggb";
						readout_orientation = "0";
						line_length = "3924";
						inherent_gain = "1";
						//pix_clk_hz = "297000000";
						pix_clk_hz = "124416000";
						gain_factor = "10";
						framerate_factor = "1000000";
						exposure_factor = "1000000";
						min_gain_val = "0";
						max_gain_val = "270";
						step_gain_val = "3";
						default_gain = "270";
						min_hdr_ratio = "16";
						max_hdr_ratio = "16";
						min_framerate = "2000000";
						step_framerate = "1";
						min_exp_time = "15";
						max_exp_time = "100000";
						step_exp_time = "1";
						default_exp_time = "16650";
						embedded_metadata_height = "1";
					};
					ports {
						#address-cells = <1>;
						#size-cells = <0>;
						port@0 {
							reg = <0>;
							tis_imx390_out3: endpoint {
								port-index = <3>;
								bus-width = <2>;
								remote-endpoint = <&tis_imx390_csi_in3>;
							};
						};
					};
				};

				tis_imx390_e: tis_imx390@1e {
					compatible = "tis,tis_imx390";
					reg = <0x1e>;
					reg-tis_eeprom = <0x54>;
					reg-nv_eeprom = <0x5b>;
					status = "okay";
					reset-gpios = <&tis_fpdlink_e 1 GPIO_ACTIVE_HIGH>;
					pwdn-gpios = <&tis_fpdlink_e 0 GPIO_ACTIVE_HIGH>;
					gpoutlevel-gpios = <&tis_fpdlink_e 2 GPIO_ACTIVE_HIGH>;
					gpoutpushpull-gpios = <&tis_fpdlink_e 3 GPIO_ACTIVE_HIGH>;
					gpoutselect-gpios = <&tis_fpdlink_e 4 GPIO_ACTIVE_HIGH>;
					triglvlsel-gpios = <&tis_fpdlink_e 5 GPIO_ACTIVE_HIGH>;
					trigsrcsel-gpios = <&tis_fpdlink_e 6 GPIO_ACTIVE_HIGH>;
					devnode = "video4";
					physical_w = "5.640";
					physical_h = "3.216";
					sensor_model = "imx390";
					use_decibel_gain = "true";
					use_sensor_mode_id = "true";
					fpdlink = <&tis_fpdlink_e>;
					fpdlink_signals = "default";
					
					fpdlink_clkout_hz = <27000000>;
					fpdlink_slave_map = /bits/ 8 <0x21 0x1e 0x50 0x54 0x57 0x5b>;
					fpdlink_ser_map_addr = /bits/ 8 <0x25>;
					fpdlink_ser_lanes = <4>;
					fpdlink_vc_map = /bits/ 8 <0x0>;
					fpdlink_coax_pwr_gpio = /bits/ 8 <6>;
					
					mode0 {
						mclk_khz = "27000";
						num_lanes = "4";
						mode_lanes = <4>;
						lane_polarity = "0";
						tegra_sinterface = "serial_e";
						vc_id = "0";
						phy_mode = "DPHY";
						discontinuous_clk = "yes";
						dpcm_enable = "false";
						cil_settletime = "0";
						//serdes_pix_clk_hz = "3200000000";
						serdes_pix_clk_hz ="266666666"; 
						raw_fourcc_color = "RG16";
						raw_fourcc_mono = "Y16 ";
						active_h = "1100";
						max_framerate = "30000000";
						default_framerate = "30000000";
						active_w = "1920";
						dynamic_pixel_bit_depth = "12";
						csi_pixel_bit_depth = "12";
						mode_type = "bayer";
						pixel_phase = "rggb";
						readout_orientation = "0";
						line_length = "3924";
						inherent_gain = "1";
						//pix_clk_hz = "297000000";
						pix_clk_hz = "124416000";
						gain_factor = "10";
						framerate_factor = "1000000";
						exposure_factor = "1000000";
						min_gain_val = "0";
						max_gain_val = "270";
						step_gain_val = "3";
						default_gain = "270";
						min_hdr_ratio = "16";
						max_hdr_ratio = "16";
						min_framerate = "2000000";
						step_framerate = "1";
						min_exp_time = "15";
						max_exp_time = "100000";
						step_exp_time = "1";
						default_exp_time = "16650";
						embedded_metadata_height = "1";
					};
					ports {
						#address-cells = <1>;
						#size-cells = <0>;
						port@0 {
							reg = <0>;
							tis_imx390_out4: endpoint {
								port-index = <4>;
								bus-width = <4>;
								remote-endpoint = <&tis_imx390_csi_in4>;
							};
						};
					};
				};

				tis_imx390_f: tis_imx390@1f {
					compatible = "tis,tis_imx390";
					reg = <0x1f>;
					reg-tis_eeprom = <0x55>;
					reg-nv_eeprom = <0x5c>;
					status = "okay";
					reset-gpios = <&tis_fpdlink_f 1 GPIO_ACTIVE_HIGH>;
					pwdn-gpios = <&tis_fpdlink_f 0 GPIO_ACTIVE_HIGH>;
					gpoutlevel-gpios = <&tis_fpdlink_f 2 GPIO_ACTIVE_HIGH>;
					gpoutpushpull-gpios = <&tis_fpdlink_f 3 GPIO_ACTIVE_HIGH>;
					gpoutselect-gpios = <&tis_fpdlink_f 4 GPIO_ACTIVE_HIGH>;
					triglvlsel-gpios = <&tis_fpdlink_f 5 GPIO_ACTIVE_HIGH>;
					trigsrcsel-gpios = <&tis_fpdlink_f 6 GPIO_ACTIVE_HIGH>;
					devnode = "video5";
					physical_w = "5.640";
					physical_h = "3.216";
					sensor_model = "imx390";
					use_decibel_gain = "true";
					use_sensor_mode_id = "true";
					fpdlink = <&tis_fpdlink_f>;
					fpdlink_signals = "default";
					
					fpdlink_clkout_hz = <27000000>;
					fpdlink_slave_map = /bits/ 8 <0x21 0x1f 0x50 0x55 0x57 0x5c>;
					fpdlink_ser_map_addr = /bits/ 8 <0x26>;
					fpdlink_ser_lanes = <4>;
					fpdlink_vc_map = /bits/ 8 <0x0>;
					fpdlink_coax_pwr_gpio = /bits/ 8 <6>;
					
					mode0 {
						mclk_khz = "27000";
						num_lanes = "4";
						mode_lanes = <4>;
						lane_polarity = "0";
						tegra_sinterface = "serial_g";
						vc_id = "0";
						phy_mode = "DPHY";
						discontinuous_clk = "yes";
						dpcm_enable = "false";
						cil_settletime = "0";
						//serdes_pix_clk_hz = "3200000000";
						serdes_pix_clk_hz ="266666666"; 
						raw_fourcc_color = "RG16";
						raw_fourcc_mono = "Y16 ";
						active_h = "1100";
						max_framerate = "30000000";
						default_framerate = "30000000";
						active_w = "1920";
						dynamic_pixel_bit_depth = "12";
						csi_pixel_bit_depth = "12";
						mode_type = "bayer";
						pixel_phase = "rggb";
						readout_orientation = "0";
						line_length = "3924";
						inherent_gain = "1";
						//pix_clk_hz = "297000000";
						pix_clk_hz = "124416000";
						gain_factor = "10";
						framerate_factor = "1000000";
						exposure_factor = "1000000";
						min_gain_val = "0";
						max_gain_val = "270";
						step_gain_val = "3";
						default_gain = "270";
						min_hdr_ratio = "16";
						max_hdr_ratio = "16";
						min_framerate = "2000000";
						step_framerate = "1";
						min_exp_time = "15";
						max_exp_time = "100000";
						step_exp_time = "1";
						default_exp_time = "16650";
						embedded_metadata_height = "1";
					};
					ports {
						#address-cells = <1>;
						#size-cells = <0>;
						port@0 {
							reg = <0>;
							tis_imx390_out5: endpoint {
								port-index = <6>;
								bus-width = <4>;
								remote-endpoint = <&tis_imx390_csi_in5>;
							};
						};
					};
				};




		};
		lens_imx335@0 {
			min_focus_distance = "0.0";
			hyper_focal = "0.0";
			focal_length = "3.04";
			f_number = "2.0";
			aperture = "0.0";
		};


	i2c@31e0000 {
		hawk_dser: max96712_a@62 {
			status = "disabled";
		};
		virtual_i2c_mux: virtual_i2c_mux@50 {
			status = "disabled";
			i2c@0 {
				hawk_bmi: bmi088_a@69 {
					status = "disabled";
				};
				hawk_cam0: ar0234_a@30 {
					status = "disabled";
				};
				hawk_cam1: ar0234_b@31 {
					status = "disabled";
				};
			};
			i2c@1 {
				hawk_cam2: ar0234_c@32 {
					status = "disabled";
				};
				hawk_cam3: ar0234_d@33 {
					status = "disabled";
				};
				hawk_cam4: ar0234_e@34 {
					status = "disabled";
				};
				hawk_cam5: ar0234_f@35 {
					status = "disabled";
				};
				hawk_cam6: ar0234_g@36 {
					status = "disabled";
				};
				hawk_cam7: ar0234_h@37 {
					status = "disabled";
				};
			};
		};
	};
	/*i2c@3180000 {
		owl_dser: max96712_b@62 {
			status = "disabled";
		};
		owl_cam0: ar0234_i@30 {
			status = "disabled";
		};
		owl_cam1: ar0234_j@32 {
			status = "disabled";
		};
		owl_cam2: ar0234_k@34 {
			status = "disabled";
		};
		owl_cam3: ar0234_l@36 {
			status = "disabled";
		};
		e3326_cam0: ov5693_c@36 {
			status = "disabled";
		};
		e2832_cam0: e2832@2b {
			status = "disabled";
		};
		tca6408@21 {
			status = "disabled";
		};
		tca9548@77 {
			status = "disabled";
			i2c@0 {
				e3333_cam0: ov5693_a@36 {
					status = "disabled";
				};
			};
			i2c@1 {
				e3333_cam1: ov5693_b@36 {
					status = "disabled";
				};
			};
			i2c@2 {
				e3333_cam2: ov5693_c@36 {
					status = "disabled";
				};
			};
			i2c@3 {
				e3333_cam3: ov5693_d@36 {
					status = "disabled";
				};
			};
			i2c@4 {
				e3333_cam4: ov5693_e@36 {
					status = "disabled";
				};
			};
			i2c@5 {
				e3333_cam5: ov5693_g@36 {
					status = "disabled";
				};
			};
		};
		tca9546_70: tca9546@70 {
			status = "disabled";
			i2c@0 {
				dual_hawk0:dual_hawk_a@18 {
					status = "disabled";
				};
				dual_hawk1:dual_hawk_b@10 {
					status = "disabled";
				};
				pca9570_a_24: pca9570_a@24 {
					status = "disabled";
				};
				imx274_cam0: imx274_a@1a {
					status = "disabled";
				};
				imx185_cam0: imx185_a@1a {
					status = "disabled";
				};
				e3331_cam0: imx318_a@10 {
					status = "disable";
				};
				max96712_dser: single_max96712_a@62 {
					status = "disabled";
				};
				max9296_dser: max9296@48 {
					status = "disabled";
				};
				max9295_prim: max9295_prim@62 {
					status = "disabled";
				};
				max9295_ser0: max9295_a@40 {
					status = "disabled";
				};
				max9295_ser1: max9295_b@60 {
					status = "disabled";
				};
				imx390_cam0: imx390_a@1b {
					status = "disabled";
				};
				imx390_cam1: imx390_b@1c {
					status = "disabled";
				};
			};
			i2c@1 {
				dual_hawk2:dual_hawk_c@18 {
					status = "disabled";
				};
				dual_hawk3:dual_hawk_d@10 {
					status = "disabled";
				};
				imx274_cam1: imx274_c@1a {
					status = "disabled";
				};
			};
		};
	};*/
    };
	tegra-camera-platform {
		compatible = "nvidia, tegra-camera-platform";
		num_csi_lanes = <16>;
		max_lane_speed = <1500000>;
		min_bits_per_pixel = <10>;
		vi_peak_byte_per_pixel = <2>;
		vi_bw_margin_pct = <25>;
		max_pixel_rate = <240000>;
		isp_peak_byte_per_pixel = <5>;
		isp_bw_margin_pct = <25>;

		modules {

			module0 {
				status = "okay";
				badge = "jakku_bottomleft_imx390";
				position = "bottomleft";
				orientation = "1";
				drivernode0 {
					status = "okay";
					pcl_id = "v4l2_sensor";
					devname = "tis_imx390 2-001a";
					proc-device-tree = "/proc/device-tree/bus@0/i2c@3180000/tis_imx390@1a";
				};
				drivernode1 {
					status = "okay";
					pcl_id = "v4l2_lens";
					proc-device-tree = "/proc/device-tree/bus@0/lens_imx335@0/";
				};
			};
			module1 {
				status = "okay";
				badge = "jakku_bottomright_imx390";
				position = "bottomright";
				orientation = "1";
				drivernode0 {
					status = "okay";
					pcl_id = "v4l2_sensor";
					devname = "tis_imx390 2-001b";
					proc-device-tree = "/proc/device-tree/bus@0/i2c@3180000/tis_imx390@1b";
				};
				drivernode1 {
					status = "okay";
					pcl_id = "v4l2_lens";
					proc-device-tree = "/proc/device-tree/bus@0/lens_imx335@0/";
				};
			};
			module2 {
				status = "okay";
				badge = "jakku_centerleft_imx390";
				position = "centerleft";
				orientation = "1";
				drivernode0 {
					status = "okay";
					pcl_id = "v4l2_sensor";
					devname = "tis_imx390 2-001c";
					proc-device-tree = "/proc/device-tree/bus@0/i2c@3180000/tis_imx390@1c";
				};
				drivernode1 {
					status = "okay";
					pcl_id = "v4l2_lens";
					proc-device-tree = "/proc/device-tree/bus@0/lens_imx335@0/";
				};
			};

			module3 {
				status = "okay";
				badge = "jakku_centerright_imx390";
				position = "centerright";
				orientation = "1";
				drivernode0 {
					status = "okay";
					pcl_id = "v4l2_sensor";
					devname = "tis_imx390 2-001d";
					proc-device-tree = "/proc/device-tree/bus@0/i2c@3180000/tis_imx390@1d";
				};
				drivernode1 {
					status = "okay";
					pcl_id = "v4l2_lens";
					proc-device-tree = "/proc/device-tree/bus@0/lens_imx335@0/";
				};
			};
			module4 {
				status = "okay";
				badge = "jakku_topleft_imx390";
				position = "topleft";
				orientation = "1";
				drivernode0 {
					status = "okay";
					pcl_id = "v4l2_sensor";
					devname = "tis_imx390 2-001e";
					proc-device-tree = "/proc/device-tree/bus@0/i2c@3180000/tis_imx390@1e";
				};
				drivernode1 {
					status = "okay";
					pcl_id = "v4l2_lens";
					proc-device-tree = "/proc/device-tree/bus@0/lens_imx335@0/";
				};
			};
			module5 {
				status = "okay";
				badge = "jakku_topright_imx390";
				position = "topright";
				orientation = "1";
				drivernode0 {
					status = "okay";
					pcl_id = "v4l2_sensor";
					devname = "tis_imx390 2-001f";
					proc-device-tree = "/proc/device-tree/bus@0/i2c@3180000/tis_imx390@1f";
				};
				drivernode1 {
					status = "okay";
					pcl_id = "v4l2_lens";
					proc-device-tree = "/proc/device-tree/bus@0/lens_imx335@0/";
				};
			};



		



















			/*cam_module0: module0 {
				status = "disabled";
				cam_module0_drivernode0: drivernode0 {
					status = "disabled";
				};
				cam_module0_drivernode1: drivernode1 {
					status = "disabled";
					pcl_id = "v4l2_lens";
				};
			};
			cam_module1: module1 {
				status = "disabled";
				cam_module1_drivernode0: drivernode0 {
					status = "disabled";
				};
				cam_module1_drivernode1: drivernode1 {
					status = "disabled";
					pcl_id = "v4l2_lens";
				};
			};
			cam_module2: module2 {
				status = "disabled";
				cam_module2_drivernode0: drivernode0 {
					status = "disabled";
				};
				cam_module2_drivernode1: drivernode1 {
					status = "disabled";
					pcl_id = "v4l2_lens";
				};
			};
			cam_module3: module3 {
				status = "disabled";
				cam_module3_drivernode0: drivernode0 {
					status = "disabled";
				};
				cam_module3_drivernode1: drivernode1 {
					status = "disabled";
					pcl_id = "v4l2_lens";
				};
			};
			cam_module4: module4 {
				status = "disabled";
				cam_module4_drivernode0: drivernode0 {
					status = "disabled";
				};
				cam_module4_drivernode1: drivernode1 {
					status = "disabled";
					pcl_id = "v4l2_lens";
				};
			};
			cam_module5: module5 {
				status = "disabled";
				cam_module5_drivernode0: drivernode0 {
					status = "disabled";
				};
				cam_module5_drivernode1: drivernode1 {
					status = "disabled";
					pcl_id = "v4l2_lens";
				};
			};
			cam_module6: module6 {
				status = "disabled";
				cam_module6_drivernode0: drivernode0 {
					status = "disabled";
				};
				cam_module6_drivernode1: drivernode1 {
					status = "disabled";
					pcl_id = "v4l2_lens";
				};
			};
			cam_module7: module7 {
				status = "disabled";
				cam_module7_drivernode0: drivernode0 {
					status = "disabled";
				};
				cam_module7_drivernode1: drivernode1 {
					status = "disabled";
					pcl_id = "v4l2_lens";
				};
			};
			cam_module8: module8 {
				status = "disabled";
				cam_module8_drivernode0: drivernode0 {
					status = "disabled";
				};
				cam_module8_drivernode1: drivernode1 {
					status = "disabled";
					pcl_id = "v4l2_lens";
				};
			};
			cam_module9: module9 {
				status = "disabled";
				cam_module9_drivernode0: drivernode0 {
					status = "disabled";
				};
				cam_module9_drivernode1: drivernode1 {
					status = "disabled";
					pcl_id = "v4l2_lens";
				};
			};
			cam_module10: module10 {
				status = "disabled";
				cam_module10_drivernode0: drivernode0 {
					status = "disabled";
				};
				cam_module10_drivernode1: drivernode1 {
					status = "disabled";
					pcl_id = "v4l2_lens";
				};
			};
			cam_module11: module11 {
				status = "disabled";
				cam_module11_drivernode0: drivernode0 {
					status = "disabled";
				};
				cam_module11_drivernode1: drivernode1 {
					status = "disabled";
					pcl_id = "v4l2_lens";
				};
			};*/
		};
	};
};

		
		};
	};
